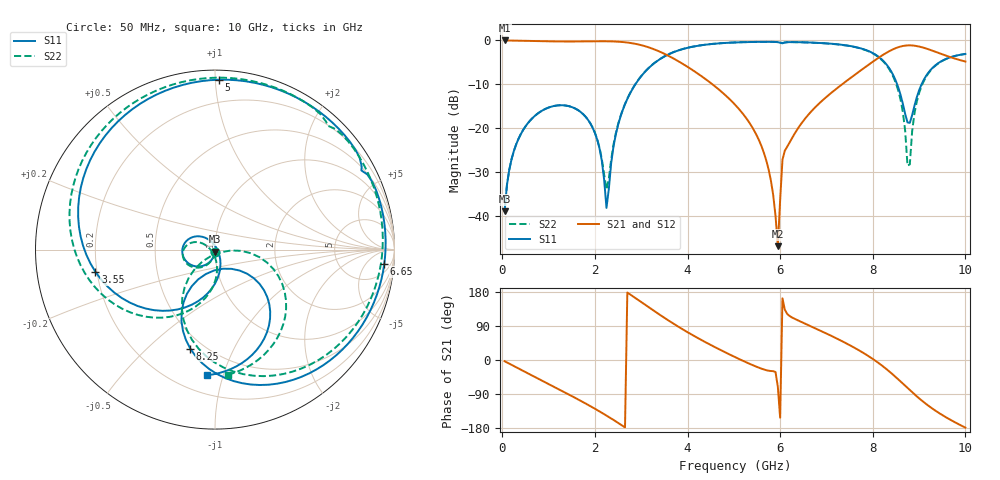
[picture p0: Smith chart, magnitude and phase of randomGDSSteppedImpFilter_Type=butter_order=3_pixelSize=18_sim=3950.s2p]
! freq	dB(S11)	phase(S11)	dB(S12)	phase(S12)
!  dB(S21)	phase(S21)	dB(S22)	phase(S22)
!S-par simulation data
#  GHz  S  DB  R 50
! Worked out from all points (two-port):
!   200 points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, 50 MHz to 10 GHz, reference 50 ohm
!   highest |S21| = -0.01 dB at 50 MHz (marker M1); lowest = -46.9 dB at 5.95 GHz (marker M2)
!   |S21| within 3 dB of the highest: start of sweep to 3.493 GHz; 8.265 GHz to 9.461 GHz (1.197 GHz wide, 13.5 % of centre)
!   lowest |S11| = -38.9 dB at 50 MHz (marker M3), VSWR 1.02, Z = 49.9 - j1.13 ohm
!   |S11| at or under -10 dB: start of sweep to 2.874 GHz; 8.526 GHz to 9.054 GHz (528.2 MHz wide, 6.01 % of centre)
!   |S22| runs from -38.9 to -0.3 dB; largest |S21 - S12| = 0
!   S11 on the Smith chart (normalised r, x): 50 MHz: 1.00, -0.02; 3.55 GHz: 0.19, -0.09; 5 GHz: 0.06, +1.02; 6.65 GHz: 11, -17; 8.25 GHz: 0.42, -0.69; 10 GHz: 0.32, -0.88
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0.05  -38.91 -92.6  -0.01 -3.3  -0.01 -3.3  -38.89 -92.1
0.55  -18.89 -127.0  -0.10 -35.1  -0.10 -35.1  -18.89 -123.9
1.75  -16.85 151.3  -0.23 -111.5  -0.23 -111.5  -16.84 165.8
2.1  -24.64 119.1  -0.19 -135.7  -0.19 -135.7  -24.45 154.3
2.25  -38.15 46.7  -0.19 -146.7  -0.19 -146.7  -33.95 -153.3
2.6  -15.89 -84.9  -0.36 -173.8  -0.36 -173.8  -15.78 -88.4
3.4  -4.29 -156.9  -2.56 119.4  -2.56 119.4  -4.26 -147.3
3.55  -3.38 -169.5  -3.30 107.3  -3.30 107.3  -3.36 -158.7
5  -0.47 88.7  -14.35 9.2  -14.35 9.2  -0.47 107.1
5.05  -0.45 85.6  -14.91 6.2  -14.91 6.2  -0.45 104.2
5.7  -0.32 47.3  -27.33 -26.9  -27.33 -26.9  -0.33 66.9
5.95  -0.40 32.5  -46.87 -70.9  -46.87 -70.9  -0.39 52.1
6.05  -0.66 28.4  -27.17 162.8  -27.17 162.8  -0.59 47.5
6.65  -0.48 -4.8  -16.43 89.9  -16.43 89.9  -0.49 12.8
6.7  -0.50 -7.5  -15.86 87.1  -15.86 87.1  -0.52 9.8
7.65  -1.56 -62.0  -7.53 29.2  -7.53 29.2  -1.60 -50.3
8.25  -4.91 -104.0  -3.10 -19.6  -3.10 -19.6  -5.06 -99.5
8.35  -6.24 -111.5  -2.49 -29.5  -2.49 -29.5  -6.46 -109.2
8.6  -12.41 -122.4  -1.39 -56.7  -1.39 -56.7  -13.50 -133.2
8.75  -18.68 -92.5  -1.14 -73.8  -1.14 -73.8  -28.53 -118.3
9.1  -9.00 -39.7  -1.67 -111.1  -1.67 -111.1  -9.30 -18.4
10  -3.08 -93.7  -4.81 -178.4  -4.81 -178.4  -3.09 -84.0
